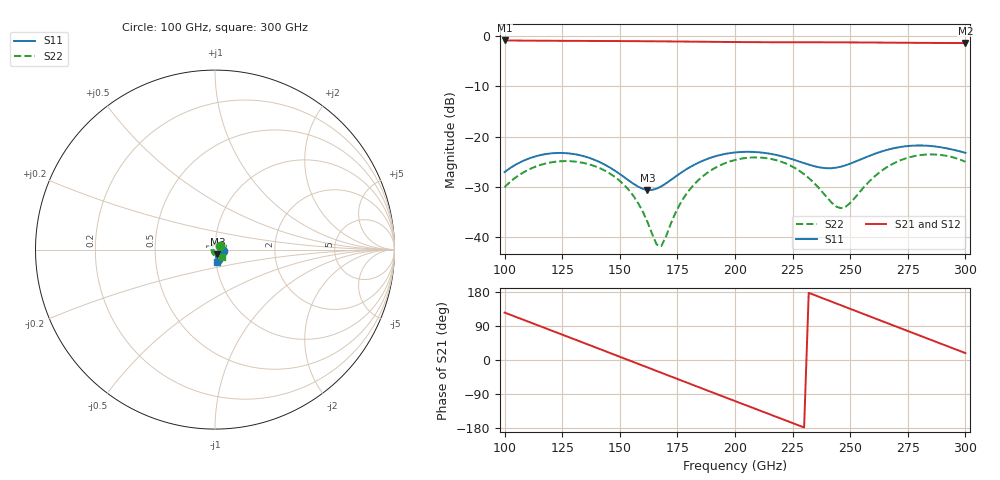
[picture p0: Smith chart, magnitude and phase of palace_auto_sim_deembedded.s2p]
! Created with skrf 1.11.0 (http://scikit-rf.org).
# GHz S DB R 50.0
!freq dBS11 angS11 dBS21 angS21 dBS12 angS12 dBS22 angS22
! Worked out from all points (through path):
!   101 points, 100 GHz to 300 GHz, reference 50 ohm
!   highest |S21| = -0.82 dB at 100 GHz (marker M1); lowest = -1.3 dB at 300 GHz (marker M2)
!   group delay of S21, straight-line fit = 6.49 ps
!   lowest |S11| = -30.7 dB at 162 GHz (marker M3), VSWR 1.06, Z = 51.3 - j2.69 ohm
!   |S11| at or under -10 dB: start of sweep to end of sweep
!   |S22| runs from -41.9 to -23.6 dB; largest |S21 - S12| = 1e-13
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100  -27.09 -12.7  -0.82 125.1  -0.82 125.1  -30.10 35.8
108  -24.86 -24.6  -0.85 106.5  -0.85 106.5  -27.19 21.8
116  -23.65 -38.2  -0.88 87.9  -0.88 87.9  -25.60 6.1
124  -23.27 -52.2  -0.89 69.3  -0.89 69.3  -24.94 -10.6
134  -23.87 -68.4  -0.91 46.0  -0.91 46.0  -25.24 -32.6
150  -27.48 -82.7  -0.94 8.5  -0.94 8.5  -28.84 -71.9
156  -29.45 -77.9  -0.96 -5.5  -0.96 -5.5  -31.90 -90.7
162  -30.67 -63.5  -0.98 -19.6  -0.98 -19.6  -37.04 -120.2
166  -30.39 -52.0  -0.99 -29.0  -0.99 -29.0  -41.55 -165.4
168  -29.94 -47.2  -1.00 -33.6  -1.00 -33.6  -41.88 158.5
176  -27.41 -38.4  -1.03 -52.4  -1.03 -52.4  -33.57 84.1
182  -25.71 -39.8  -1.06 -66.4  -1.06 -66.4  -29.68 62.0
190  -24.14 -46.2  -1.09 -85.1  -1.09 -85.1  -26.62 38.8
200  -23.18 -56.7  -1.14 -108.3  -1.14 -108.3  -24.68 12.2
218  -23.68 -73.5  -1.18 -150.1  -1.18 -150.1  -24.73 -37.3
226  -24.70 -76.7  -1.18 -168.8  -1.18 -168.8  -26.28 -62.5
234  -25.87 -73.9  -1.19 172.5  -1.19 172.5  -29.13 -93.7
246  -26.00 -59.7  -1.20 144.4  -1.20 144.4  -34.29 178.7
258  -23.91 -53.9  -1.23 116.3  -1.23 116.3  -29.10 89.9
268  -22.43 -58.8  -1.26 92.9  -1.26 92.9  -25.56 51.2
282  -21.80 -70.6  -1.30 60.2  -1.30 60.2  -23.62 7.4
300  -23.25 -79.1  -1.35 18.2  -1.35 18.2  -25.03 -49.1
